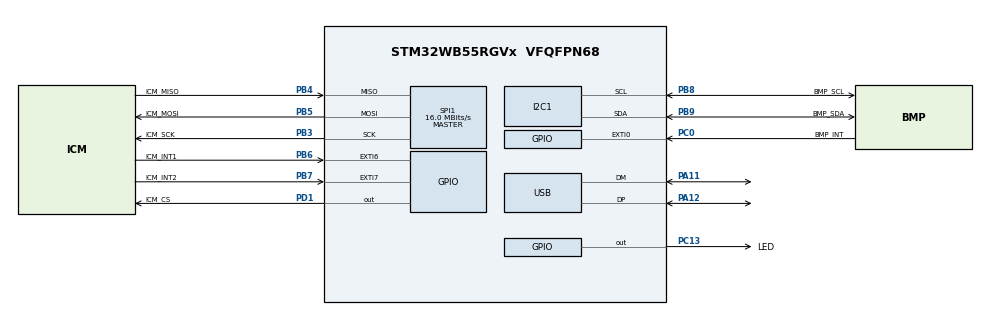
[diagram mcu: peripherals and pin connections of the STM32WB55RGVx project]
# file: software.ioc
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I2C1.Timing=0x10B17DB5
Mcu.Family=STM32WB
Mcu.Name=STM32WB55RGVx
Mcu.Package=VFQFPN68
NVIC.HSEM_IRQn=true\:0\:0\:false\:false\:true\:false\:true\:true
NVIC.PriorityGroup=NVIC_PRIORITYGROUP_4
NVIC.USB_LP_IRQn=true\:0\:0\:false\:false\:true\:false\:true\:true
OSC_IN.Mode=HSE-External-Oscillator
OSC_IN.Signal=RCC_OSC_IN
OSC_OUT.Mode=HSE-External-Oscillator
OSC_OUT.Signal=RCC_OSC_OUT
PA11.Mode=Device
PA11.Signal=USB_DM
PA12.Mode=Device
PA12.Signal=USB_DP
PB3.GPIO_Label=ICM_SCK
PB3.Mode=Full_Duplex_Master
PB3.Signal=SPI1_SCK
PB4.GPIO_Label=ICM_MISO
PB4.Mode=Full_Duplex_Master
PB4.Signal=SPI1_MISO
PB5.GPIO_Label=ICM_MOSI
PB5.Mode=Full_Duplex_Master
PB5.Signal=SPI1_MOSI
PB6.GPIO_Label=ICM_INT1
PB6.Signal=GPXTI6
PB7.GPIO_Label=ICM_INT2
PB7.Signal=GPXTI7
PB8.GPIO_Label=BMP_SCL
PB8.Mode=I2C
PB8.Signal=I2C1_SCL
PB9.GPIO_Label=BMP_SDA
PB9.Mode=I2C
PB9.Signal=I2C1_SDA
PC0.GPIO_Label=BMP_INT
PC0.Signal=GPXTI0
PC13.GPIO_Label=LED
PC13.GPIO_PuPd=GPIO_PULLUP
PC13.PinState=GPIO_PIN_SET
PC13.Signal=GPIO_Output
PC14-OSC32_IN.Mode=LSE-External-Oscillator
PC14-OSC32_IN.Signal=RCC_OSC32_IN
PC15-OSC32_OUT.Mode=LSE-External-Oscillator
PC15-OSC32_OUT.Signal=RCC_OSC32_OUT
PD1.GPIO_Label=ICM_CS
PD1.GPIO_Speed=GPIO_SPEED_FREQ_VERY_HIGH
PD1.PinState=GPIO_PIN_SET
PD1.Signal=GPIO_Output
ProjectManager.HeapSize=0x800
ProjectManager.StackSize=0xC00
ProjectManager.TargetToolchain=Makefile
RCC.ADCFreq_Value=48000000
RCC.AHB2CLKDivider=RCC_SYSCLK_DIV2
RCC.AHBFreq_Value=64000000
RCC.APB1Freq_Value=64000000
RCC.APB1TimFreq_Value=64000000
RCC.APB2Freq_Value=64000000
RCC.APB2TimFreq_Value=64000000
RCC.APB3Freq_Value=16000000
RCC.CortexFreq_Value=64000000
RCC.HCLKFreq_Value=64000000
RCC.HSE_VALUE=32000000
RCC.HSI48_VALUE=48000000
RCC.HSI_VALUE=16000000
RCC.PLLN=32
RCC.PLLSAI1N=24
RCC.SYSCLKFreq_VALUE=64000000
RCC.SYSCLKSource=RCC_SYSCLKSOURCE_PLLCLK
RCC.USBFreq_Value=48000000
RCC.VCOOutputFreq_Value=128000000
RF1.Mode=RF1_Activate
RF1.Signal=RF_RF1
SPI1.BaudRatePrescaler=SPI_BAUDRATEPRESCALER_4
SPI1.CLKPhase=SPI_PHASE_1EDGE
SPI1.CLKPolarity=SPI_POLARITY_LOW
SPI1.CalculateBaudRate=16.0 MBits/s
SPI1.DataSize=SPI_DATASIZE_8BIT
SPI1.Direction=SPI_DIRECTION_2LINES
SPI1.Mode=SPI_MODE_MASTER
SPI1.VirtualType=VM_MASTER
STM32_WPAN.AD_TYPE_COMPLETE_LOCAL_NAME=Cyberboard
STM32_WPAN.AD_TYPE_COMPLETE_LOCAL_NAME_LENGTH=11
STM32_WPAN.CFG_GAP_DEVICE_NAME=CYBERBOARD
STM32_WPAN.CFG_GAP_DEVICE_NAME_LENGTH=10
STM32_WPAN.CFG_LSCLK_LSE=0
STM32_WPAN.CUSTOM_P2P_SERVER=Disabled
STM32_WPAN.CUSTOM_TEMPLATE=Enabled
STM32_WPAN.INCLUDE_AD_TYPE_COMPLETE_LOCAL_NAME=1
STM32_WPAN.INCLUDE_AD_TYPE_TX_POWER_LEVEL=0
STM32_WPAN.LOCAL_NAME=CYBERBO
STM32_WPAN.LOCAL_NAME_FORMATTED=,'C','Y','B','E','R','B','O'
STM32_WPAN.NUMBER_OF_SERVICES=1
STM32_WPAN.SERVICE1_CHAR1_LENGTH_CHARACTERISTIC=CHAR_VALUE_LEN_CONSTANT
STM32_WPAN.SERVICE1_CHAR1_LONG_NAME=IMU_DATA
STM32_WPAN.SERVICE1_CHAR1_PROP_NOTIFY=CHAR_PROP_NOTIFY
STM32_WPAN.SERVICE1_CHAR1_PROP_READ=CHAR_PROP_READ
STM32_WPAN.SERVICE1_CHAR1_SHORT_NAME=IMU_DATA
STM32_WPAN.SERVICE1_CHAR1_VALUE_LENGTH=28
STM32_WPAN.SERVICE1_CHAR2_LONG_NAME=BARO_DATA
STM32_WPAN.SERVICE1_CHAR2_PROP_NOTIFY=CHAR_PROP_NOTIFY
STM32_WPAN.SERVICE1_CHAR2_PROP_READ=CHAR_PROP_READ
STM32_WPAN.SERVICE1_CHAR2_SHORT_NAME=BARO_DATA
STM32_WPAN.SERVICE1_CHAR2_VALUE_LENGTH=12
STM32_WPAN.SERVICE1_LONG_NAME=SENSOR_SERVICE
STM32_WPAN.SERVICE1_NUMBER_OF_CHARACTERISTICS=2
STM32_WPAN.SERVICE1_SHORT_NAME=SENSOR_SERVICE
USB_DEVICE.CLASS_NAME_FS=CDC
USB_DEVICE.VirtualMode=Cdc
USB_DEVICE.VirtualModeFS=Cdc_FS
VP_HSEM_VS_HSEM.Mode=HSEM_Activate
VP_IPCC_VS_IPCC.Mode=IPCC_Activate
VP_MEMORYMAP_VS_MEMORYMAP.Mode=CurAppReg
VP_RTC_VS_RTC_Activate.Mode=RTC_Enabled
VP_SEQUENCER_VS_SEQUENCER.Mode=SEQUENCER_Enabled
VP_STM32_WPAN_VS_BLE_HOST.Mode=STM32_WPAN_Enabled
VP_TINY_LPM_VS_TINY_LPM.Mode=TINY_LPM_Enabled
VP_USB_DEVICE_VS_USB_DEVICE_CDC_FS.Mode=CDC_FS
board=custom

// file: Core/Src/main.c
/* USER CODE BEGIN Header */
/**
 ******************************************************************************
 * @file           : main.c
 * @brief          : Main program body
 ******************************************************************************
 * @attention
 *
 * Copyright (c) 2026 STMicroelectronics.
 * All rights reserved.
 *
 * This software is licensed under terms that can be found in the LICENSE file
 * in the root directory of this software component.
 * If no LICENSE file comes with this software, it is provided AS-IS.
 *
 ******************************************************************************
 */
/* USER CODE END Header */
#include "main.h"
#include "i2c.h"
#include "ipcc.h"
#include "rf.h"
#include "rtc.h"
#include "spi.h"
#include "usb_device.h"
#include "gpio.h"

/* USER CODE BEGIN Includes */
#include "ICM42688.h"
#include "bmp5.h"
#include "kalman.h"
#include "common.h"
#include "usbd_cdc_if.h"
#include <stdio.h>
#include <string.h>
#include <math.h>

/* Debug: blink LED N times (works even before HAL GPIO init, using raw registers) */
static void dbg_blink(int n)
{
  /* Enable GPIOC clock */
  RCC->AHB2ENR |= RCC_AHB2ENR_GPIOCEN;
  /* PC13 as output (MODER bits [27:26] = 01) */
  GPIOC->MODER = (GPIOC->MODER & ~(3u << 26)) | (1u << 26);

  for (int i = 0; i < n; i++) {
    GPIOC->BSRR = (1u << 13);       /* LED off (active low) */
    for (volatile int d = 0; d < 200000; d++);
    GPIOC->BSRR = (1u << (13+16));  /* LED on */
    for (volatile int d = 0; d < 200000; d++);
  }
  GPIOC->BSRR = (1u << 13);         /* LED off */
  for (volatile int d = 0; d < 400000; d++);  /* pause between stages */
}

static void dbg_print(const char *msg)
{
  CDC_Transmit_FS((uint8_t *)msg, strlen(msg));
  HAL_Delay(10);
}
/* USER CODE END Includes */

/* USER CODE BEGIN PD */
/* Set to 1 to enable BLE characteristic updates, 0 for USB serial logging only */
#define ENABLE_BLE       1
/* Set to 1 to enable USB CDC serial logging, 0 to disable */
#define ENABLE_USB_LOG   1
/* USER CODE END PD */

/* USER CODE BEGIN PV */
ICM42688_Handle icm;
ICM42688_Data imu_data;

struct bmp5_dev bmp5;
struct bmp5_osr_odr_press_config bmp5_osr_cfg;
struct bmp5_sensor_data bmp5_data;

Kalman_t kf_pitch;
Kalman_t kf_roll;

/* Gyro bias measured at startup (subtracted from every reading) */
float gyro_bias_x = 0.0f, gyro_bias_y = 0.0f, gyro_bias_z = 0.0f;

char serial_buf[256];
/* USER CODE END PV */

void SystemClock_Config(void);
void PeriphCommonClock_Config(void);
/* USER CODE BEGIN PFP */
static int8_t BMP580_Setup(void);
/* USER CODE END PFP */

/* USER CODE BEGIN 0 */
/* Forward-declare the BLE update function without pulling in full BLE headers.
   Opcode 0 = IMU_DATA, 1 = BARO_DATA  (matches Custom_STM_Char_Opcode_t). */
extern uint8_t Custom_STM_App_Update_Char(uint8_t CharOpcode, uint8_t *pPayload);
#define BLE_CHAR_IMU   0
#define BLE_CHAR_BARO  1

/* Set to 1 by Custom_APP_Init() once BLE stack + GATT services are ready */
volatile uint8_t ble_ready = 0;

static uint32_t last_sensor_poll = 0;
/* USER CODE END 0 */

int main(void)
{

  /* USER CODE BEGIN 1 */
  /* Early LED blink pattern for debugging startup hangs.
   * Each stage blinks N times before proceeding.
   * Count the blinks to see where it hangs. */
  /* USER CODE END 1 */

  /* MCU Configuration--------------------------------------------------------*/

  /* Reset of all peripherals, Initializes the Flash interface and the Systick. */
  HAL_Init();
  /* Config code for STM32_WPAN (HSE Tuning must be done before system clock configuration) */
  MX_APPE_Config();

  /* Configure the system clock */
  SystemClock_Config();

  /* Configure the peripherals common clocks */
  PeriphCommonClock_Config();

  /* IPCC initialisation */
  MX_IPCC_Init();

  /* Initialize all configured peripherals */
  MX_GPIO_Init();
  MX_I2C1_Init();
  MX_SPI1_Init();
  MX_USB_Device_Init();
  MX_RTC_Init();
  MX_RF_Init();
  /* USER CODE BEGIN 2 */
  /* Give USB time to enumerate before any CDC transmits */
  HAL_Delay(2000);
  dbg_print("=== Cyberboard startup ===\r\n");
  dbg_print("[OK] HAL, clocks, IPCC, peripherals initialized\r\n");

  dbg_print("[  ] I2C bus scan...\r\n");
  /* I2C bus scan – report every device that ACKs */
  {
    int len = snprintf(serial_buf, sizeof(serial_buf), "I2C scan:\r\n");
    CDC_Transmit_FS((uint8_t *)serial_buf, len);
    HAL_Delay(10);
    uint8_t found = 0;
    for (uint8_t addr = 0x08; addr < 0x78; addr++) {
      if (HAL_I2C_IsDeviceReady(&hi2c1, (uint16_t)(addr << 1), 2, 10) == HAL_OK) {
        len = snprintf(serial_buf, sizeof(serial_buf), "  0x%02X ACK\r\n", addr);
        CDC_Transmit_FS((uint8_t *)serial_buf, len);
        HAL_Delay(10);
        found++;
      }
    }
    if (found == 0) {
      len = snprintf(serial_buf, sizeof(serial_buf), "  No devices found!\r\n");
      CDC_Transmit_FS((uint8_t *)serial_buf, len);
      HAL_Delay(10);
    }
    len = snprintf(serial_buf, sizeof(serial_buf), "I2C scan done (%d found)\r\n", found);
    CDC_Transmit_FS((uint8_t *)serial_buf, len);
    HAL_Delay(10);
  }

  dbg_print("[  ] ICM-42688-PC setup...\r\n");
  /* ICM-42688-PC IMU setup */
  icm.hspi    = &hspi1;
  icm.cs_port = ICM_CS_GPIO_Port;
  icm.cs_pin  = ICM_CS_Pin;

  {
    uint8_t whoami = ICM42688_WhoAmI(&icm);
    int len = snprintf(serial_buf, sizeof(serial_buf),
                       "ICM42688-PC WHO_AM_I: 0x%02X (expect 0x%02X)\r\n",
                       whoami, ICM42688PC_WHOAMI);
    CDC_Transmit_FS((uint8_t *)serial_buf, len);
    HAL_Delay(10);
  }

  int icm_err = ICM42688_Init(&icm);
  {
    int len = snprintf(serial_buf, sizeof(serial_buf),
                       "ICM42688-PC init rc: %d\r\n", icm_err);
    CDC_Transmit_FS((uint8_t *)serial_buf, len);
    HAL_Delay(10);
  }

  /* Startup calibration: average accel (for initial angle) and gyro (for bias).
   * Board must be stationary during this phase. */
  {
    const int cal_samples = 32;
    float sum_pitch = 0.0f, sum_roll = 0.0f;
    float sum_gx = 0.0f, sum_gy = 0.0f, sum_gz = 0.0f;
    int good = 0;
    dbg_print("[  ] Calibrating (hold still)...\r\n");
    for (int i = 0; i < cal_samples; i++) {
      if (ICM42688_ReadOnce(&icm, &imu_data) == 0) {
        sum_pitch += atan2f(-imu_data.acc_x, sqrtf(imu_data.acc_y * imu_data.acc_y + imu_data.acc_z * imu_data.acc_z));
        sum_roll  += atan2f( imu_data.acc_y, sqrtf(imu_data.acc_x * imu_data.acc_x + imu_data.acc_z * imu_data.acc_z));
        sum_gx += imu_data.gyr_x;
        sum_gy += imu_data.gyr_y;
        sum_gz += imu_data.gyr_z;
        good++;
      }
      HAL_Delay(2);
    }
    if (good > 0) {
      float deg = 180.0f / (float)M_PI;
      Kalman_Init(&kf_pitch, (sum_pitch / good) * deg);
      Kalman_Init(&kf_roll,  (sum_roll  / good) * deg);
      gyro_bias_x = sum_gx / good;
      gyro_bias_y = sum_gy / good;
      gyro_bias_z = sum_gz / good;
    } else {
      Kalman_Init(&kf_pitch, 0.0f);
      Kalman_Init(&kf_roll,  0.0f);
    }
  }
  dbg_print("[OK] Kalman filters initialized\r\n");

  dbg_print("[  ] BMP580 setup...\r\n");
  /* BMP580 barometric pressure sensor setup */
  int8_t bmp_err = BMP580_Setup();
  if (bmp_err != BMP5_OK) {
    while (1) {
      int len = snprintf(serial_buf, sizeof(serial_buf),
                         "BMP580 init error: %d\r\n", bmp_err);
      CDC_Transmit_FS((uint8_t *)serial_buf, len);
      HAL_Delay(10);
      for (int i = 0; i < (-bmp_err); i++) {
        HAL_GPIO_WritePin(LED_GPIO_Port, LED_Pin, GPIO_PIN_RESET);
        HAL_Delay(100);
        HAL_GPIO_WritePin(LED_GPIO_Port, LED_Pin, GPIO_PIN_SET);
        HAL_Delay(100);
      }
      HAL_Delay(1500);
    }
  }
  /* USER CODE END 2 */

  /* Init code for STM32_WPAN */
  MX_APPE_Init();

  /* Infinite loop */
  /* USER CODE BEGIN WHILE */
  dbg_print("[OK] Entering main loop\r\n");

  while (1) {
     /* --- Sensor polling (every 50 ms) --- */
    if (HAL_GetTick() - last_sensor_poll >= 50) {
      last_sensor_poll = HAL_GetTick();

      /* IMU */
      if (ICM42688_ReadOnce(&icm, &imu_data) == 0) {
        /* Kalman filter: fuse accel + gyro into stable pitch/roll angles.
         *
         * accel_pitch/roll: tilt angles derived from gravity direction.
         *   - Accurate on average, but noisy and wrong during acceleration.
         * gyro: rotation rate integrated over dt to track angle changes.
         *   - Smooth and responsive, but drifts over time.
         *
         * The Kalman filter blends both to get the best of each. */
        float dt = 0.05f;  /* 50 ms polling interval */

        /* atan2(axis, sqrt(other_two²)) gives tilt that stays valid at all angles.
         * Using just atan2(x, z) breaks down when z→0 (board near 90° tilt). */
        float accel_pitch = atan2f(-imu_data.acc_x, sqrtf(imu_data.acc_y * imu_data.acc_y + imu_data.acc_z * imu_data.acc_z)) * (180.0f / (float)M_PI);
        float accel_roll  = atan2f( imu_data.acc_y, sqrtf(imu_data.acc_x * imu_data.acc_x + imu_data.acc_z * imu_data.acc_z)) * (180.0f / (float)M_PI);

        /* Subtract startup bias from gyro before feeding into the filter */
        float pitch = Kalman_Update(&kf_pitch, imu_data.gyr_y - gyro_bias_y, accel_pitch, dt);
        float roll  = Kalman_Update(&kf_roll,  imu_data.gyr_x - gyro_bias_x, accel_roll,  dt);

#if ENABLE_USB_LOG
        /* Bias-corrected gyro for logging and BLE */
        float gx_cor = imu_data.gyr_x - gyro_bias_x;
        float gy_cor = imu_data.gyr_y - gyro_bias_y;
        float gz_cor = imu_data.gyr_z - gyro_bias_z;

        int len = snprintf(serial_buf, sizeof(serial_buf),
                           "A:%.2f,%.2f,%.2f G:%.1f,%.1f,%.1f T:%.1f P:%.2f R:%.2f\r\n",
                           imu_data.acc_x, imu_data.acc_y, imu_data.acc_z,
                           gx_cor, gy_cor, gz_cor,
                           imu_data.temp_c, pitch, roll);
        CDC_Transmit_FS((uint8_t *)serial_buf, len);
#endif

#if ENABLE_BLE
        if (ble_ready) {
          float imu_ble[7] = {
            imu_data.acc_x, imu_data.acc_y, imu_data.acc_z,
            gx_cor, gy_cor, gz_cor,
            imu_data.temp_c
          };
          Custom_STM_App_Update_Char(BLE_CHAR_IMU, (uint8_t *)imu_ble);
        }
#endif
      }

      /* Barometer */
      {
        uint8_t int_status = 0;
        if (bmp5_get_interrupt_status(&int_status, &bmp5) == BMP5_OK) {
          if (int_status & BMP5_INT_ASSERTED_DRDY) {
            if (bmp5_get_sensor_data(&bmp5_data, &bmp5_osr_cfg, &bmp5) == BMP5_OK) {
#if ENABLE_USB_LOG
              int len = snprintf(serial_buf, sizeof(serial_buf),
                                 "P:%.2f Pa  T:%.2f C\r\n",
                                 bmp5_data.pressure, bmp5_data.temperature);
              CDC_Transmit_FS((uint8_t *)serial_buf, len);
#endif

#if ENABLE_BLE
              if (ble_ready) {
                float baro_ble[3] = {
                  (float)bmp5_data.pressure,
                  (float)bmp5_data.temperature,
                  0.0f
                };
                Custom_STM_App_Update_Char(BLE_CHAR_BARO, (uint8_t *)baro_ble);
              }
#endif
            }
          }
        }
      }

      HAL_GPIO_TogglePin(LED_GPIO_Port, LED_Pin);
    }

    /* USER CODE END WHILE */
    MX_APPE_Process();

  }
}

void SystemClock_Config(void)
{
  RCC_OscInitTypeDef RCC_OscInitStruct = {0};
  RCC_ClkInitTypeDef RCC_ClkInitStruct = {0};

  /** Configure LSE Drive Capability
  */
  HAL_PWR_EnableBkUpAccess();
  __HAL_RCC_LSEDRIVE_CONFIG(RCC_LSEDRIVE_MEDIUMHIGH);

  /** Configure the main internal regulator output voltage
  */
  __HAL_PWR_VOLTAGESCALING_CONFIG(PWR_REGULATOR_VOLTAGE_SCALE1);

  /** Initializes the RCC Oscillators according to the specified parameters
  * in the RCC_OscInitTypeDef structure.
  */
  RCC_OscInitStruct.OscillatorType = RCC_OSCILLATORTYPE_HSI|RCC_OSCILLATORTYPE_LSI1
                              |RCC_OSCILLATORTYPE_HSE|RCC_OSCILLATORTYPE_LSE
                              |RCC_OSCILLATORTYPE_MSI;
  RCC_OscInitStruct.HSEState = RCC_HSE_ON;
  RCC_OscInitStruct.LSEState = RCC_LSE_ON;
  RCC_OscInitStruct.HSIState = RCC_HSI_ON;
  RCC_OscInitStruct.MSIState = RCC_MSI_ON;
  RCC_OscInitStruct.HSICalibrationValue = RCC_HSICALIBRATION_DEFAULT;
  RCC_OscInitStruct.MSICalibrationValue = RCC_MSICALIBRATION_DEFAULT;
  RCC_OscInitStruct.MSIClockRange = RCC_MSIRANGE_6;
  RCC_OscInitStruct.LSIState = RCC_LSI_ON;
  RCC_OscInitStruct.PLL.PLLState = RCC_PLL_ON;
  RCC_OscInitStruct.PLL.PLLSource = RCC_PLLSOURCE_MSI;
  RCC_OscInitStruct.PLL.PLLM = RCC_PLLM_DIV1;
  RCC_OscInitStruct.PLL.PLLN = 32;
  RCC_OscInitStruct.PLL.PLLP = RCC_PLLP_DIV2;
  RCC_OscInitStruct.PLL.PLLR = RCC_PLLR_DIV2;
  RCC_OscInitStruct.PLL.PLLQ = RCC_PLLQ_DIV2;
  if (HAL_RCC_OscConfig(&RCC_OscInitStruct) != HAL_OK)
  {
    Error_Handler();
  }

  /** Configure the SYSCLKSource, HCLK, PCLK1 and PCLK2 clocks dividers
  */
  RCC_ClkInitStruct.ClockType = RCC_CLOCKTYPE_HCLK4|RCC_CLOCKTYPE_HCLK2
                              |RCC_CLOCKTYPE_HCLK|RCC_CLOCKTYPE_SYSCLK
                              |RCC_CLOCKTYPE_PCLK1|RCC_CLOCKTYPE_PCLK2;
  RCC_ClkInitStruct.SYSCLKSource = RCC_SYSCLKSOURCE_PLLCLK;
  RCC_ClkInitStruct.AHBCLKDivider = RCC_SYSCLK_DIV1;
  RCC_ClkInitStruct.APB1CLKDivider = RCC_HCLK_DIV1;
  RCC_ClkInitStruct.APB2CLKDivider = RCC_HCLK_DIV1;
  RCC_ClkInitStruct.AHBCLK2Divider = RCC_SYSCLK_DIV2;
  RCC_ClkInitStruct.AHBCLK4Divider = RCC_SYSCLK_DIV1;

  if (HAL_RCC_ClockConfig(&RCC_ClkInitStruct, FLASH_LATENCY_3) != HAL_OK)
  {
    Error_Handler();
  }

  /** Enable MSI Auto calibration
  */
  HAL_RCCEx_EnableMSIPLLMode();
}

void PeriphCommonClock_Config(void)
{
  RCC_PeriphCLKInitTypeDef PeriphClkInitStruct = {0};

  /** Initializes the peripherals clock
  */
  PeriphClkInitStruct.PeriphClockSelection = RCC_PERIPHCLK_SMPS|RCC_PERIPHCLK_RFWAKEUP;
  PeriphClkInitStruct.RFWakeUpClockSelection = RCC_RFWKPCLKSOURCE_HSE_DIV1024;
  PeriphClkInitStruct.SmpsClockSelection = RCC_SMPSCLKSOURCE_HSI;
  PeriphClkInitStruct.SmpsDivSelection = RCC_SMPSCLKDIV_RANGE1;

  if (HAL_RCCEx_PeriphCLKConfig(&PeriphClkInitStruct) != HAL_OK)
  {
    Error_Handler();
  }
}

/* USER CODE BEGIN 4 */

/**
 * @brief  Initialise BMP580 in normal mode with 50 Hz ODR, IIR filter,
 *         and DRDY interrupt enabled.
 */
static void bmp_log(const char *msg, int8_t rslt)
{
  int len = snprintf(serial_buf, sizeof(serial_buf), "BMP: %s -> %d\r\n", msg, rslt);
  CDC_Transmit_FS((uint8_t *)serial_buf, len);
  HAL_Delay(10);  /* give USB time to flush */
}

static int8_t BMP580_Setup(void)
{
  int8_t rslt;

  /* Platform-level init (wires up HAL I2C read/write/delay) */
  rslt = bmp5_interface_init(&bmp5, &hi2c1);
  bmp_log("interface_init", rslt);
  if (rslt != BMP5_OK) return rslt;

  /* Send soft-reset command manually. Do NOT call bmp5_soft_reset() because
   * it reads INT_STATUS (clearing the POR bit) which bmp5_init() also needs.
   * Instead, write the reset command, wait, and let bmp5_init() consume the
   * POR bit itself. */
  {
    uint8_t rst_cmd = 0xB6;  /* BMP5_SOFT_RESET_CMD */
    rslt = bmp5_set_regs(0x7E /* BMP5_REG_CMD */, &rst_cmd, 1, &bmp5);
    bmp_log("manual_reset_cmd", rslt);
    if (rslt != BMP5_OK) return rslt;
    HAL_Delay(5);  /* datasheet: 2 ms reset time, add margin */
  }

  /* Chip-level init with retry – gives the sensor time to come back */
  for (int attempt = 0; attempt < 3; attempt++) {
    rslt = bmp5_init(&bmp5);
    bmp_log("bmp5_init", rslt);
    if (rslt == BMP5_OK) break;
    HAL_Delay(10);
  }
  if (rslt != BMP5_OK) return rslt;

  /* --- Configure OSR / ODR / pressure enable --- */
  rslt = bmp5_set_power_mode(BMP5_POWERMODE_STANDBY, &bmp5);
  bmp_log("set_power_standby", rslt);
  if (rslt != BMP5_OK) return rslt;

  rslt = bmp5_get_osr_odr_press_config(&bmp5_osr_cfg, &bmp5);
  bmp_log("get_osr_odr_cfg", rslt);
  if (rslt != BMP5_OK) return rslt;

  bmp5_osr_cfg.odr      = BMP5_ODR_50_HZ;
  bmp5_osr_cfg.press_en = BMP5_ENABLE;
  bmp5_osr_cfg.osr_t    = BMP5_OVERSAMPLING_64X;
  bmp5_osr_cfg.osr_p    = BMP5_OVERSAMPLING_4X;

  rslt = bmp5_set_osr_odr_press_config(&bmp5_osr_cfg, &bmp5);
  bmp_log("set_osr_odr_cfg", rslt);
  if (rslt != BMP5_OK) return rslt;

  /* --- IIR filter --- */
  struct bmp5_iir_config iir_cfg;
  iir_cfg.set_iir_t     = BMP5_IIR_FILTER_COEFF_1;
  iir_cfg.set_iir_p     = BMP5_IIR_FILTER_COEFF_1;
  iir_cfg.shdw_set_iir_t = BMP5_ENABLE;
  iir_cfg.shdw_set_iir_p = BMP5_ENABLE;

  rslt = bmp5_set_iir_config(&iir_cfg, &bmp5);
  bmp_log("set_iir_config", rslt);
  if (rslt != BMP5_OK) return rslt;

  /* --- Enable DRDY interrupt --- */
  rslt = bmp5_configure_interrupt(BMP5_PULSED, BMP5_ACTIVE_HIGH,
                                  BMP5_INTR_PUSH_PULL, BMP5_INTR_ENABLE, &bmp5);
  bmp_log("configure_interrupt", rslt);
  if (rslt != BMP5_OK) return rslt;

  struct bmp5_int_source_select int_src = { 0 };
  int_src.drdy_en = BMP5_ENABLE;
  rslt = bmp5_int_source_select(&int_src, &bmp5);
  bmp_log("int_source_select", rslt);
  if (rslt != BMP5_OK) return rslt;

  /* --- Enter normal (continuous) mode --- */
  rslt = bmp5_set_power_mode(BMP5_POWERMODE_NORMAL, &bmp5);
  bmp_log("set_power_normal", rslt);
  return rslt;
}

/* USER CODE END 4 */

void Error_Handler(void)
{
  __disable_irq();
  while (1) {
  }
}
#ifdef USE_FULL_ASSERT
/**
  * @brief  Reports the name of the source file and the source line number
  *         where the assert_param error has occurred.
  * @param  file: pointer to the source file name
  * @param  line: assert_param error line source number
  * @retval None
  */
void assert_failed(uint8_t *file, uint32_t line)
{
  /* USER CODE BEGIN 6 */
  /* User can add his own implementation to report the file name and line
     number, ex: printf("Wrong parameters value: file %s on line %d\r\n", file,
     line) */
  /* USER CODE END 6 */
}
#endif /* USE_FULL_ASSERT */
